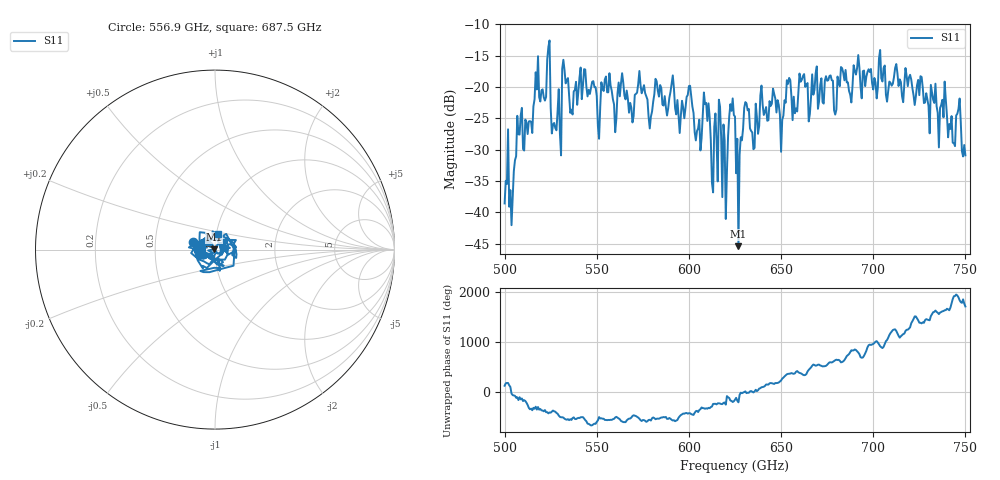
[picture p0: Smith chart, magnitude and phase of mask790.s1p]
!Created with skrf (http://scikit-rf.org).
# GHz S MA R 50.0
!freq magS11 angS11
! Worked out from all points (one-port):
!   401 points, 500 GHz to 750 GHz, reference 50 ohm
!   lowest |S11| = -45.4 dB at 626.9 GHz (marker M1), VSWR 1.01, Z = 49.5 + j0.215 ohm
!   |S11| at or under -10 dB: start of sweep to end of sweep
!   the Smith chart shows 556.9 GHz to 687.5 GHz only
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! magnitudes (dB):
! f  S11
! 500 GHz  -38.6
! 503.8 GHz  -42.0
! 508.1 GHz  -27.6
! 513.8 GHz  -25.4
! 516.9 GHz  -17.7
! 523.8 GHz  -13.6
! 526.9 GHz  -25.7
! 531.2 GHz  -17.1
! 562.5 GHz  -21.5
! 593.8 GHz  -22.1
! 600 GHz  -19.9
! 605 GHz  -26.6
! 609.4 GHz  -22.5
! 612.5 GHz  -35.3
! 617.5 GHz  -28.1
! 619.4 GHz  -28.5
! 622.5 GHz  -22.7
! 625 GHz  -24.7
! 626.9 GHz  -45.4
! 631.2 GHz  -22.6
! 634.4 GHz  -27.2
! 640 GHz  -22.8
! 656.2 GHz  -25.3
! 687.5 GHz  -21.2
! 718.8 GHz  -19.9
! 743.1 GHz  -28.9
! 746.2 GHz  -23.5
! 750 GHz  -30.9
